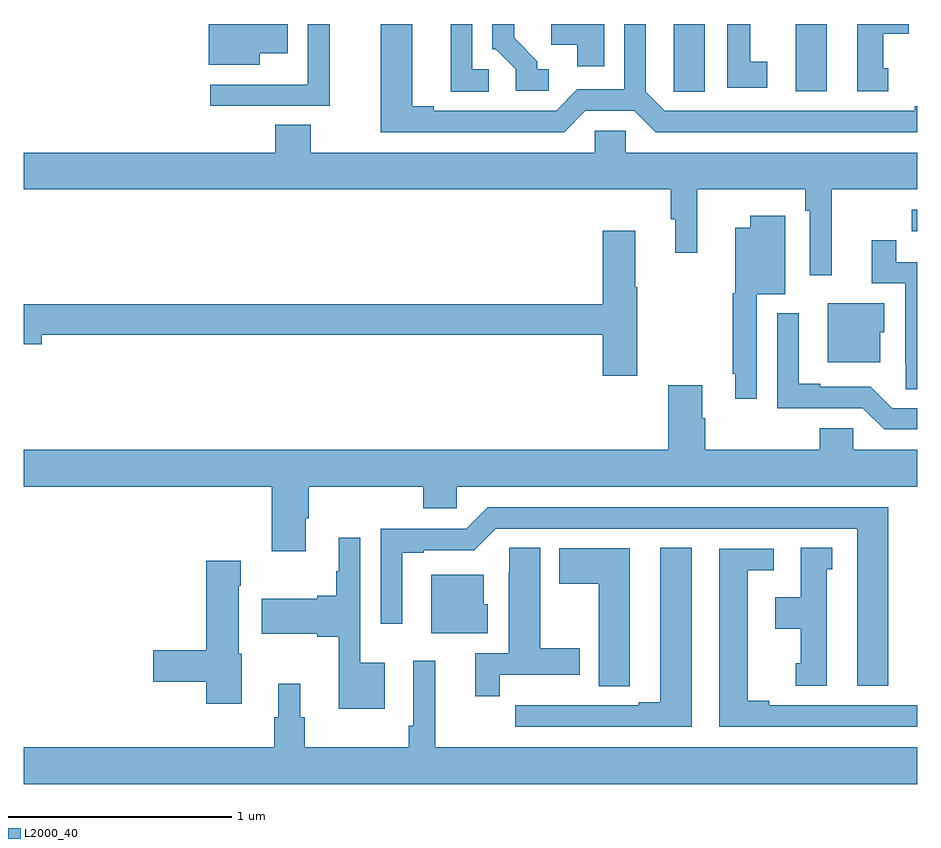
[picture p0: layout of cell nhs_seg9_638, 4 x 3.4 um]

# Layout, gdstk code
import gdstk
lib = gdstk.Library(unit=1e-6, precision=1e-09)
def R(c, l, rs):  # rectangles x0, y0, x1, y1
    for r in rs: c.add(gdstk.rectangle(r[:2], r[2:], *l))
def P(c, l, *ps):  # polygons
    for p in ps: c.add(gdstk.Polygon(p, *l))
L2000_40 = (2000, 40)

nhs_seg9_638 = lib.new_cell('nhs_seg9_638')
R(nhs_seg9_638, L2000_40, [(146.976,1189.572,147,1189.668), (146.456,1190.199,146.596,1190.5)])
P(nhs_seg9_638, L2000_40, [(145.081,1190.298),(145.008,1190.298),(145.008,1190.5),(144.911,1190.5),(144.911,1190.197),(145.081,1190.197)],
  [(145.6,1190.5),(145.361,1190.5),(145.361,1190.408),(145.478,1190.408),(145.478,1190.31),(145.6,1190.31)],
  [(144.055,1190.369),(144.181,1190.369),(144.181,1190.5),(143.828,1190.5),(143.828,1190.318),(144.055,1190.318)],
  [(146.05,1190.5),(145.91,1190.5),(145.91,1190.305),(145.911,1190.305),(145.911,1190.197),(146.05,1190.197)],
  [(144.369,1190.5),(144.27,1190.5),(144.27,1190.23),(144.269,1190.23),(144.269,1190.229),(143.835,1190.229),(143.835,1190.133),(144.369,1190.133)],
  [(146.872,1190.301),(146.848,1190.301),(146.848,1190.456),(146.962,1190.456),(146.962,1190.5),(146.732,1190.5),(146.732,1190.199),(146.872,1190.199)],
  [(145.515,1190.112),(145.733,1190.112),(145.829,1190.016),(147,1190.016),(147,1190.132),(146.99,1190.132),(146.99,1190.112),(145.869,1190.112),(145.785,1190.196),(145.785,1190.5),(145.689,1190.5),(145.689,1190.208),(145.479,1190.208),(145.383,1190.112),(144.835,1190.112),(144.835,1190.132),(144.739,1190.132),(144.739,1190.5),(144.599,1190.5),(144.599,1190.016),(145.419,1190.016)],
  [(146.329,1190.33),(146.254,1190.33),(146.254,1190.5),(146.15,1190.5),(146.15,1190.214),(146.329,1190.214)],
  [(145.351,1190.298),(145.3,1190.298),(145.3,1190.333),(145.195,1190.438),(145.195,1190.5),(145.098,1190.5),(145.098,1190.388),(145.113,1190.388),(145.203,1190.298),(145.203,1190.202),(145.351,1190.202)],
  [(146.618,1189.76),(147,1189.76),(147,1189.924),(145.695,1189.924),(145.695,1190.022),(145.557,1190.022),(145.557,1189.924),(144.285,1189.924),(144.285,1190.048),(144.125,1190.048),(144.125,1189.924),(143,1189.924),(143,1189.76),(145.897,1189.76),(145.897,1189.626),(145.916,1189.626),(145.916,1189.476),(146.016,1189.476),(146.016,1189.76),(146.5,1189.76),(146.5,1189.664),(146.52,1189.664),(146.52,1189.374),(146.618,1189.374)],
  [(146.283,1189.289),(146.41,1189.289),(146.41,1189.642),(146.252,1189.642),(146.252,1189.588),(146.186,1189.588),(146.186,1189.293),(146.175,1189.293),(146.175,1188.934),(146.186,1188.934),(146.186,1188.822),(146.283,1188.822)],
  [(145.746,1189.321),(145.738,1189.321),(145.738,1189.573),(145.592,1189.573),(145.592,1189.244),(143,1189.244),(143,1189.066),(143.08,1189.066),(143.08,1189.108),(145.592,1189.108),(145.592,1188.924),(145.746,1188.924)],
  [(147,1189.434),(146.906,1189.434),(146.906,1189.531),(146.798,1189.531),(146.798,1189.338),(146.948,1189.338),(146.948,1188.976),(146.949,1188.976),(146.949,1188.865),(147,1188.865)],
  [(146.836,1189.119),(146.854,1189.119),(146.854,1189.249),(146.6,1189.249),(146.6,1188.986),(146.836,1188.986)],
  [(147,1188.78),(146.889,1188.78),(146.793,1188.876),(146.566,1188.876),(146.566,1188.889),(146.47,1188.889),(146.47,1189.204),(146.373,1189.204),(146.373,1188.78),(146.757,1188.78),(146.853,1188.684),(147,1188.684)],
  [(144.262,1188.286),(144.275,1188.286),(144.275,1188.428),(144.788,1188.428),(144.788,1188.33),(144.939,1188.33),(144.939,1188.428),(147,1188.428),(147,1188.592),(146.715,1188.592),(146.715,1188.69),(146.564,1188.69),(146.564,1188.592),(146.051,1188.592),(146.051,1188.734),(146.038,1188.734),(146.038,1188.883),(145.886,1188.883),(145.886,1188.592),(143,1188.592),(143,1188.428),(144.11,1188.428),(144.11,1188.138),(144.262,1188.138)],
  [(146.872,1188.336),(145.077,1188.336),(144.981,1188.24),(144.597,1188.24),(144.597,1187.814),(144.694,1187.814),(144.694,1188.132),(144.79,1188.132),(144.79,1188.144),(145.017,1188.144),(145.113,1188.24),(146.732,1188.24),(146.732,1187.535),(146.872,1187.535)],
  [(144.616,1187.638),(144.507,1187.638),(144.507,1188.199),(144.41,1188.199),(144.41,1188.05),(144.399,1188.05),(144.399,1187.939),(144.314,1187.939),(144.314,1187.926),(144.066,1187.926),(144.066,1187.768),(144.314,1187.768),(144.314,1187.756),(144.41,1187.756),(144.41,1187.432),(144.616,1187.432)],
  [(145.99,1188.155),(145.85,1188.155),(145.85,1187.463),(145.754,1187.463),(145.754,1187.448),(145.478,1187.448),(145.478,1187.449),(145.312,1187.449),(145.312,1187.448),(145.2,1187.448),(145.2,1187.352),(145.99,1187.352)],
  [(146.596,1188.057),(146.62,1188.057),(146.62,1188.155),(146.48,1188.155),(146.48,1187.932),(146.366,1187.932),(146.366,1187.792),(146.48,1187.792),(146.48,1187.637),(146.456,1187.637),(146.456,1187.535),(146.596,1187.535)],
  [(145.13,1187.586),(145.489,1187.586),(145.489,1187.703),(145.312,1187.703),(145.312,1188.155),(145.173,1188.155),(145.173,1188.044),(145.172,1188.044),(145.172,1187.682),(145.022,1187.682),(145.022,1187.49),(145.13,1187.49)],
  [(145.713,1187.641),(145.714,1187.641),(145.714,1188.151),(145.397,1188.151),(145.397,1187.992),(145.574,1187.992),(145.574,1187.533),(145.713,1187.533)],
  [(147,1187.448),(146.338,1187.448),(146.338,1187.468),(146.242,1187.468),(146.242,1188.054),(146.359,1188.054),(146.359,1188.15),(146.114,1188.15),(146.114,1187.352),(147,1187.352)],
  [(143.976,1187.679),(143.962,1187.679),(143.962,1187.984),(143.97,1187.984),(143.97,1188.097),(143.816,1188.097),(143.816,1187.696),(143.58,1187.696),(143.58,1187.554),(143.816,1187.554),(143.816,1187.456),(143.976,1187.456)],
  [(145.078,1187.901),(145.06,1187.901),(145.06,1188.034),(144.824,1188.034),(144.824,1187.771),(145.078,1187.771)],
  [(147,1187.26),(144.842,1187.26),(144.842,1187.647),(144.744,1187.647),(144.744,1187.356),(144.724,1187.356),(144.724,1187.26),(144.257,1187.26),(144.257,1187.394),(144.238,1187.394),(144.238,1187.545),(144.14,1187.545),(144.14,1187.394),(144.121,1187.394),(144.121,1187.26),(143,1187.26),(143,1187.096),(147,1187.096)])

lib.write_gds('nhs_seg9_638.gds')
